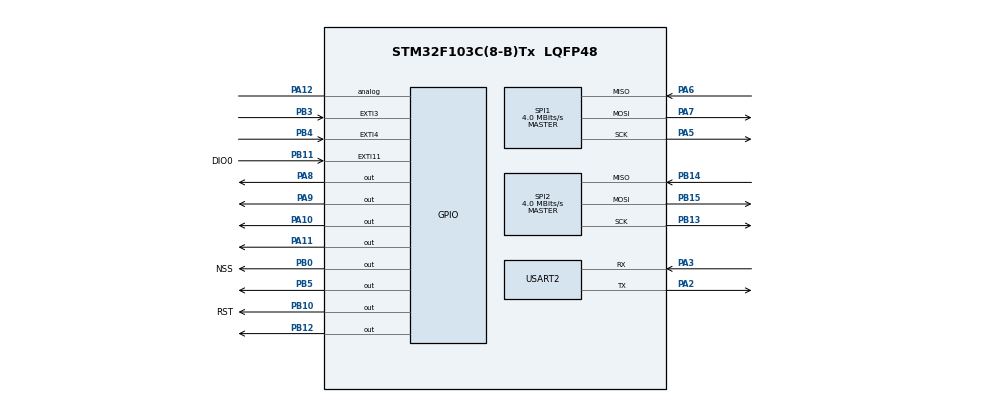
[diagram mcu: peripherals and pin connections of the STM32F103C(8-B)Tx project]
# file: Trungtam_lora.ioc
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Mcu.Family=STM32F1
Mcu.Name=STM32F103C(8-B)Tx
Mcu.Package=LQFP48
NVIC.EXTI15_10_IRQn=true\:5\:0\:true\:false\:true\:true\:true\:true
NVIC.EXTI3_IRQn=true\:6\:0\:true\:false\:true\:true\:true\:true
NVIC.EXTI4_IRQn=true\:6\:0\:true\:false\:true\:true\:true\:true
NVIC.PriorityGroup=NVIC_PRIORITYGROUP_4
PA10.Signal=GPIO_Output
PA11.Signal=GPIO_Output
PA12.Signal=GPIO_Analog
PA13.Mode=Serial_Wire
PA13.Signal=SYS_JTMS-SWDIO
PA14.Mode=Serial_Wire
PA14.Signal=SYS_JTCK-SWCLK
PA2.Mode=Asynchronous
PA2.Signal=USART2_TX
PA3.Mode=Asynchronous
PA3.Signal=USART2_RX
PA5.Mode=Full_Duplex_Master
PA5.Signal=SPI1_SCK
PA6.Mode=Full_Duplex_Master
PA6.Signal=SPI1_MISO
PA7.Mode=Full_Duplex_Master
PA7.Signal=SPI1_MOSI
PA8.Signal=GPIO_Output
PA9.Signal=GPIO_Output
PB0.GPIO_Label=NSS
PB0.PinState=GPIO_PIN_SET
PB0.Signal=GPIO_Output
PB10.GPIO_Label=RST
PB10.PinState=GPIO_PIN_SET
PB10.Signal=GPIO_Output
PB11.GPIO_Label=DIO0
PB11.Signal=GPXTI11
PB12.Signal=GPIO_Output
PB13.Mode=Full_Duplex_Master
PB13.Signal=SPI2_SCK
PB14.Mode=Full_Duplex_Master
PB14.Signal=SPI2_MISO
PB15.Mode=Full_Duplex_Master
PB15.Signal=SPI2_MOSI
PB3.GPIO_ModeDefaultEXTI=GPIO_MODE_IT_FALLING
PB3.Signal=GPXTI3
PB4.GPIO_ModeDefaultEXTI=GPIO_MODE_IT_FALLING
PB4.Signal=GPXTI4
PB5.Signal=GPIO_Output
ProjectManager.HeapSize=0x200
ProjectManager.StackSize=0x400
ProjectManager.TargetToolchain=STM32CubeIDE
RCC.APB1Freq_Value=8000000
RCC.APB2Freq_Value=8000000
SPI1.CalculateBaudRate=4.0 MBits/s
SPI1.Direction=SPI_DIRECTION_2LINES
SPI1.Mode=SPI_MODE_MASTER
SPI1.VirtualType=VM_MASTER
SPI2.CalculateBaudRate=4.0 MBits/s
SPI2.Direction=SPI_DIRECTION_2LINES
SPI2.Mode=SPI_MODE_MASTER
SPI2.VirtualType=VM_MASTER
USART2.VirtualMode=VM_ASYNC
board=custom

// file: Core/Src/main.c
/* USER CODE BEGIN Header */
/**
  ******************************************************************************
  * @file           : main.c
  * @brief          : Main program body
  ******************************************************************************
  * @attention
  *
  * Copyright (c) 2023 STMicroelectronics.
  * All rights reserved.
  *
  * This software is licensed under terms that can be found in the LICENSE file
  * in the root directory of this software component.
  * If no LICENSE file comes with this software, it is provided AS-IS.
  *
  ******************************************************************************
  */
/* USER CODE END Header */
#include "main.h"

/* USER CODE BEGIN Includes */
#include "stdio.h"
#include "string.h"
#include "Lora.h"
#include "ST7735_SPI.h"
#include "fonts.h"
#include "LOGO.h"
#include "function.h"
/* USER CODE END Includes */

/* USER CODE BEGIN PD */
#define APN "m3-world"
#define API_KEY "D1JFHWN9COHH3Z3N"
#define URL "http://api.thingspeak.com/update?key=" API_KEY "&"
/* USER CODE END PD */

SPI_HandleTypeDef hspi1;
SPI_HandleTypeDef hspi2;

UART_HandleTypeDef huart2;

/* USER CODE BEGIN PV */
LoRa myLoRa;
uint8_t LoRa_status, a = 0;
uint8_t Rxbuffer[10];
uint16_t Data16_Humi[2], Data16_Temp[2];
uint32_t Data32_Humi, Data32_Temp;
float Humi1, Temp1, Humi2, Temp2;
char lcd_Send[20];
/* USER CODE END PV */

void SystemClock_Config(void);
static void MX_GPIO_Init(void);
static void MX_SPI1_Init(void);
static void MX_SPI2_Init(void);
static void MX_USART2_UART_Init(void);

/* USER CODE BEGIN 0 */
void sendATCommand(char* command, char* response);
void configureGPRS(void);
void sendDataToThingSpeak(float tem, float hum, int i);
void Lora_setup(void);

void HAL_GPIO_EXTI_Callback(uint16_t GPIO_Pin)
{
	if (GPIO_Pin == DIO0_Pin)
	{
		LoRa_receive(&myLoRa, Rxbuffer, 10);
		if(Rxbuffer[0] == 0x01)
		{
			if (Rxbuffer[1] == 0x02)  // Temp
			{
				Data16_Temp[0] = Rxbuffer[2]<<8 | Rxbuffer[3];
				Data16_Temp[1] = Rxbuffer[4]<<8 | Rxbuffer[5];
				Data32_Temp = Data16_Temp[1]<<16 | Data16_Temp[0];
				Temp1 = unpack754_32(Data32_Temp);
				Data16_Humi[0] = Rxbuffer[6]<<8 | Rxbuffer[7];
				Data16_Humi[1] = Rxbuffer[8]<<8 | Rxbuffer[9];
				Data32_Humi = Data16_Humi[1]<<16 | Data16_Humi[0];
				Humi1 = unpack754_32(Data32_Humi);
				sendDataToThingSpeak(Temp1, Humi1, 1);
			}
		}
		if(Rxbuffer[0] == 0x02)
		{
			if (Rxbuffer[1] == 0x02)  // Temp
			{
				Data16_Temp[0] = Rxbuffer[2]<<8 | Rxbuffer[3];
				Data16_Temp[1] = Rxbuffer[4]<<8 | Rxbuffer[5];
				Data32_Temp = Data16_Temp[1]<<16 | Data16_Temp[0];
				Temp2 = unpack754_32(Data32_Temp);
				Data16_Humi[0] = Rxbuffer[6]<<8 | Rxbuffer[7];
				Data16_Humi[1] = Rxbuffer[8]<<8 | Rxbuffer[9];
				Data32_Humi = Data16_Humi[1]<<16 | Data16_Humi[0];
				Humi2 = unpack754_32(Data32_Humi);
				sendDataToThingSpeak(Temp2, Humi2, 3);
			}
		}
	}
	if (GPIO_Pin == GPIO_PIN_4)
	{
		a = 1 - a;
	}

}

/* USER CODE END 0 */

int main(void)
{

  /* MCU Configuration--------------------------------------------------------*/

  /* Reset of all peripherals, Initializes the Flash interface and the Systick. */
  HAL_Init();

  /* Configure the system clock */
  SystemClock_Config();

  /* Initialize all configured peripherals */
  MX_GPIO_Init();
  MX_SPI1_Init();
  MX_SPI2_Init();
  MX_USART2_UART_Init();
  /* USER CODE BEGIN 2 */
  configureGPRS();
  Lora_setup();
  LoRa_init(&myLoRa);
  LoRa_startReceiving(&myLoRa);
  ST7735_Init();
  ST7735_FillScreen(ST7735_WHITE);

  /* USER CODE END 2 */

  /* Infinite loop */
  while (1)
  {

    /* USER CODE BEGIN 3 */
	  if (a == 1)
	  {
		  	ST7735_WriteString(20, 0,"Station 1" , Font_11x18, ST7735_BLACK, ST7735_WHITE);
		  	sprintf(lcd_Send,"Temp:%.2f oC",Temp1);
		  	ST7735_WriteString(0, 30,lcd_Send , Font_11x18, ST7735_BLACK, ST7735_WHITE);
		  	sprintf(lcd_Send,"Humi:%.2f ppm",Humi1);
		  	ST7735_WriteString(0, 60,lcd_Send , Font_11x18, ST7735_BLACK, ST7735_WHITE);
	  }
	  if (a == 0)
	  {
		  	ST7735_WriteString(20, 0,"Station 2" , Font_11x18, ST7735_BLACK, ST7735_WHITE);
		  	sprintf(lcd_Send,"Temp:%.2f oC",Temp2);
		  	ST7735_WriteString(0, 30,lcd_Send , Font_11x18, ST7735_BLACK, ST7735_WHITE);
		  	sprintf(lcd_Send,"Humi:%.2f ppm",Humi2);
		  	ST7735_WriteString(0, 60,lcd_Send , Font_11x18, ST7735_BLACK, ST7735_WHITE);
	  }
  }
  /* USER CODE END 3 */
}

void SystemClock_Config(void)
{
  RCC_OscInitTypeDef RCC_OscInitStruct = {0};
  RCC_ClkInitTypeDef RCC_ClkInitStruct = {0};

  /** Initializes the RCC Oscillators according to the specified parameters
  * in the RCC_OscInitTypeDef structure.
  */
  RCC_OscInitStruct.OscillatorType = RCC_OSCILLATORTYPE_HSI;
  RCC_OscInitStruct.HSIState = RCC_HSI_ON;
  RCC_OscInitStruct.HSICalibrationValue = RCC_HSICALIBRATION_DEFAULT;
  RCC_OscInitStruct.PLL.PLLState = RCC_PLL_NONE;
  if (HAL_RCC_OscConfig(&RCC_OscInitStruct) != HAL_OK)
  {
    Error_Handler();
  }

  /** Initializes the CPU, AHB and APB buses clocks
  */
  RCC_ClkInitStruct.ClockType = RCC_CLOCKTYPE_HCLK|RCC_CLOCKTYPE_SYSCLK
                              |RCC_CLOCKTYPE_PCLK1|RCC_CLOCKTYPE_PCLK2;
  RCC_ClkInitStruct.SYSCLKSource = RCC_SYSCLKSOURCE_HSI;
  RCC_ClkInitStruct.AHBCLKDivider = RCC_SYSCLK_DIV1;
  RCC_ClkInitStruct.APB1CLKDivider = RCC_HCLK_DIV1;
  RCC_ClkInitStruct.APB2CLKDivider = RCC_HCLK_DIV1;

  if (HAL_RCC_ClockConfig(&RCC_ClkInitStruct, FLASH_LATENCY_0) != HAL_OK)
  {
    Error_Handler();
  }
}

static void MX_SPI1_Init(void)
{

  /* SPI1 parameter configuration*/
  hspi1.Instance = SPI1;
  hspi1.Init.Mode = SPI_MODE_MASTER;
  hspi1.Init.Direction = SPI_DIRECTION_2LINES;
  hspi1.Init.DataSize = SPI_DATASIZE_8BIT;
  hspi1.Init.CLKPolarity = SPI_POLARITY_LOW;
  hspi1.Init.CLKPhase = SPI_PHASE_1EDGE;
  hspi1.Init.NSS = SPI_NSS_SOFT;
  hspi1.Init.BaudRatePrescaler = SPI_BAUDRATEPRESCALER_2;
  hspi1.Init.FirstBit = SPI_FIRSTBIT_MSB;
  hspi1.Init.TIMode = SPI_TIMODE_DISABLE;
  hspi1.Init.CRCCalculation = SPI_CRCCALCULATION_DISABLE;
  hspi1.Init.CRCPolynomial = 10;
  if (HAL_SPI_Init(&hspi1) != HAL_OK)
  {
    Error_Handler();
  }

}

static void MX_SPI2_Init(void)
{

  /* SPI2 parameter configuration*/
  hspi2.Instance = SPI2;
  hspi2.Init.Mode = SPI_MODE_MASTER;
  hspi2.Init.Direction = SPI_DIRECTION_2LINES;
  hspi2.Init.DataSize = SPI_DATASIZE_8BIT;
  hspi2.Init.CLKPolarity = SPI_POLARITY_LOW;
  hspi2.Init.CLKPhase = SPI_PHASE_1EDGE;
  hspi2.Init.NSS = SPI_NSS_SOFT;
  hspi2.Init.BaudRatePrescaler = SPI_BAUDRATEPRESCALER_2;
  hspi2.Init.FirstBit = SPI_FIRSTBIT_MSB;
  hspi2.Init.TIMode = SPI_TIMODE_DISABLE;
  hspi2.Init.CRCCalculation = SPI_CRCCALCULATION_DISABLE;
  hspi2.Init.CRCPolynomial = 10;
  if (HAL_SPI_Init(&hspi2) != HAL_OK)
  {
    Error_Handler();
  }

}

static void MX_USART2_UART_Init(void)
{

  huart2.Instance = USART2;
  huart2.Init.BaudRate = 115200;
  huart2.Init.WordLength = UART_WORDLENGTH_8B;
  huart2.Init.StopBits = UART_STOPBITS_1;
  huart2.Init.Parity = UART_PARITY_NONE;
  huart2.Init.Mode = UART_MODE_TX_RX;
  huart2.Init.HwFlowCtl = UART_HWCONTROL_NONE;
  huart2.Init.OverSampling = UART_OVERSAMPLING_16;
  if (HAL_UART_Init(&huart2) != HAL_OK)
  {
    Error_Handler();
  }

}

static void MX_GPIO_Init(void)
{
  GPIO_InitTypeDef GPIO_InitStruct = {0};

  /* GPIO Ports Clock Enable */
  __HAL_RCC_GPIOA_CLK_ENABLE();
  __HAL_RCC_GPIOB_CLK_ENABLE();

  /*Configure GPIO pin Output Level */
  HAL_GPIO_WritePin(GPIOB, NSS_Pin|RST_Pin, GPIO_PIN_SET);

  /*Configure GPIO pin Output Level */
  HAL_GPIO_WritePin(GPIOB, GPIO_PIN_12|GPIO_PIN_5, GPIO_PIN_RESET);

  /*Configure GPIO pin Output Level */
  HAL_GPIO_WritePin(GPIOA, GPIO_PIN_8|GPIO_PIN_9|GPIO_PIN_10|GPIO_PIN_11, GPIO_PIN_RESET);

  /*Configure GPIO pins : NSS_Pin RST_Pin PB12 PB5 */
  GPIO_InitStruct.Pin = NSS_Pin|RST_Pin|GPIO_PIN_12|GPIO_PIN_5;
  GPIO_InitStruct.Mode = GPIO_MODE_OUTPUT_PP;
  GPIO_InitStruct.Pull = GPIO_NOPULL;
  GPIO_InitStruct.Speed = GPIO_SPEED_FREQ_LOW;
  HAL_GPIO_Init(GPIOB, &GPIO_InitStruct);

  /*Configure GPIO pin : DIO0_Pin */
  GPIO_InitStruct.Pin = DIO0_Pin;
  GPIO_InitStruct.Mode = GPIO_MODE_IT_RISING;
  GPIO_InitStruct.Pull = GPIO_NOPULL;
  HAL_GPIO_Init(DIO0_GPIO_Port, &GPIO_InitStruct);

  /*Configure GPIO pins : PA8 PA9 PA10 PA11 */
  GPIO_InitStruct.Pin = GPIO_PIN_8|GPIO_PIN_9|GPIO_PIN_10|GPIO_PIN_11;
  GPIO_InitStruct.Mode = GPIO_MODE_OUTPUT_PP;
  GPIO_InitStruct.Pull = GPIO_NOPULL;
  GPIO_InitStruct.Speed = GPIO_SPEED_FREQ_LOW;
  HAL_GPIO_Init(GPIOA, &GPIO_InitStruct);

  /*Configure GPIO pin : PA12 */
  GPIO_InitStruct.Pin = GPIO_PIN_12;
  GPIO_InitStruct.Mode = GPIO_MODE_ANALOG;
  HAL_GPIO_Init(GPIOA, &GPIO_InitStruct);

  /*Configure GPIO pins : PB3 PB4 */
  GPIO_InitStruct.Pin = GPIO_PIN_3|GPIO_PIN_4;
  GPIO_InitStruct.Mode = GPIO_MODE_IT_FALLING;
  GPIO_InitStruct.Pull = GPIO_NOPULL;
  HAL_GPIO_Init(GPIOB, &GPIO_InitStruct);

  /* EXTI interrupt init*/
  HAL_NVIC_SetPriority(EXTI3_IRQn, 6, 0);
  HAL_NVIC_EnableIRQ(EXTI3_IRQn);

  HAL_NVIC_SetPriority(EXTI4_IRQn, 6, 0);
  HAL_NVIC_EnableIRQ(EXTI4_IRQn);

  HAL_NVIC_SetPriority(EXTI15_10_IRQn, 5, 0);
  HAL_NVIC_EnableIRQ(EXTI15_10_IRQn);

}

/* USER CODE BEGIN 4 */
void Lora_setup(void)
{
	  myLoRa.CS_port         = NSS_GPIO_Port;
	  myLoRa.CS_pin          = NSS_Pin;
	  myLoRa.reset_port      = RST_GPIO_Port;
	  myLoRa.reset_pin       = RST_Pin;
	  myLoRa.DIO0_port       = DIO0_GPIO_Port;
	  myLoRa.DIO0_pin        = DIO0_Pin;
	  myLoRa.hSPIx           = &hspi1;
	  myLoRa.frequency             = 433       ;
	  myLoRa.spredingFactor        = SF_7      ;
	  myLoRa.bandWidth			   = BW_125KHz ;
	  myLoRa.crcRate               = CR_4_5    ;
	  myLoRa.power				   = POWER_20db;
	  myLoRa.overCurrentProtection = 100       ;
	  myLoRa.preamble			   = 8         ;
}
void configureGPRS(void)
{
  char response[50];

  sendATCommand("AT+CGATT=1\r\n", response);
  HAL_Delay(1000);

  sendATCommand("AT+SAPBR=3,1,\"Contype\",\"GPRS\"\r\n", response);
  HAL_Delay(1000);

  char apnCommand[50];
  sprintf(apnCommand, "AT+SAPBR=3,1,\"APN\",\"%s\"\r\n", APN);
  sendATCommand(apnCommand, response);
  HAL_Delay(1000);

  sendATCommand("AT+SAPBR=1,1\r\n", response);
  HAL_Delay(1000);

  sendATCommand("AT+SAPBR=2,1\r\n", response);
  HAL_Delay(1000);
}

void sendDataToThingSpeak(float tem, float hum, int i)
{
  char dataString[50];
  sprintf(dataString, "field%d=%.2f&field%d=%.2f",i,tem,i+1,hum);

  char url[100];
  strcpy(url, URL);
  strcat(url, dataString);

  char response[100];
  char dataLength[10];
  sprintf(dataLength, "%d", strlen(dataString));

  sendATCommand("AT+HTTPINIT\r\n", response);
  HAL_Delay(1000);

  sendATCommand("AT+HTTPPARA=\"CID\",1\r\n", response);
  HAL_Delay(1000);

  char urlCommand[150];
  sprintf(urlCommand, "AT+HTTPPARA=\"URL\",\"%s\"\r\n", url);
  sendATCommand(urlCommand, response);
  HAL_Delay(1000);

  char dataCommand[50];
  sprintf(dataCommand, "AT+HTTPDATA=%s,5000\r\n", dataLength);
  sendATCommand(dataCommand, response);
  HAL_Delay(1000);

  sendATCommand(dataString, response);
  HAL_Delay(1000);

  sendATCommand("AT+HTTPACTION=1\r\n", response);
  HAL_Delay(5000); // wait for HTTP response
  sendATCommand("AT+HTTPREAD\r\n", response);
}

void sendATCommand(char* command, char* response)
{
  HAL_UART_Transmit(&huart2, (uint8_t*)command, strlen(command), 1000);
  HAL_UART_Receive(&huart2, (uint8_t*)response, 50, 1000);
}

/* USER CODE END 4 */

void Error_Handler(void)
{
  __disable_irq();
  while (1)
  {
  }
}
